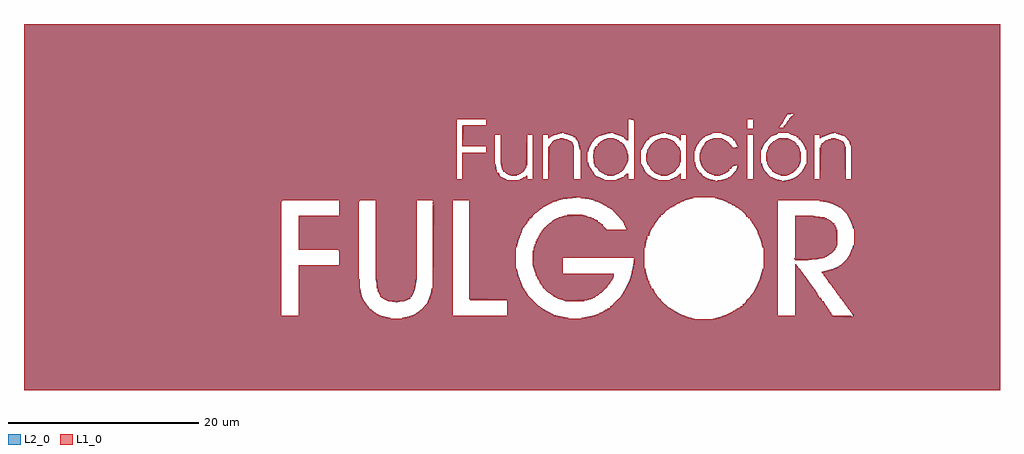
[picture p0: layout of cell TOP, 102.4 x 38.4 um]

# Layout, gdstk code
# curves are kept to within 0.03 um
import gdstk
lib = gdstk.Library(unit=1e-6, precision=1e-09)
def P(c, l, *ps):  # polygons
    for p in ps: c.add(gdstk.Polygon(p, *l))
L1_0 = (1, 0)
L2_0 = (2, 0)

top = lib.new_cell('TOP')
P(top, L1_0, [(80.9,13.6),(80.9,13.7),(80.8,13.7),(80.8,13.8),(80.9,13.8),(80.9,18.3),(82.8,18.3),(82.8,18.2),(83.5,18.2),(83.5,18.1),(84,18.1),(84,18),(84.2,18),(84.2,17.9),(84.4,17.9),(84.4,17.8),(84.6,17.8),(84.6,17.7),(84.7,17.7),(84.7,17.6),(84.8,17.6),(84.8,17.5),(85,17.5),(85,17.3),(85.1,17.3),(85.1,17.1),(85.2,17.1),(85.2,16.8),(85.3,16.8),(85.3,15.2),(85.2,15.2),(85.2,14.9),(85.1,14.9),(85.1,14.7),(85,14.7),(85,14.6),(84.9,14.6),(84.9,14.5),(84.8,14.5),(84.8,14.4),(84.7,14.4),(84.7,14.3),(84.5,14.3),(84.5,14.2),(84.4,14.2),(84.4,14.1),(84.2,14.1),(84.2,14),(84,14),(84,13.9),(83.8,13.9),(83.8,13.8),(83.3,13.8),(83.3,13.7),(82.3,13.7),(82.3,13.6)],
  [(61.2,22.5),(61.2,22.6),(61,22.6),(61,22.7),(60.8,22.7),(60.8,22.8),(60.6,22.8),(60.6,22.9),(60.4,22.9),(60.4,23),(60.3,23),(60.3,23.2),(60.2,23.2),(60.2,23.3),(60.1,23.3),(60.1,23.4),(60,23.4),(60,23.5),(59.9,23.5),(59.9,23.8),(59.8,23.8),(59.8,24.3),(59.7,24.3),(59.7,24.7),(59.8,24.7),(59.8,25.2),(59.9,25.2),(59.9,25.4),(60,25.4),(60,25.6),(60.2,25.6),(60.2,25.8),(60.3,25.8),(60.3,25.9),(60.4,25.9),(60.4,26),(60.5,26),(60.5,26.1),(60.7,26.1),(60.7,26.2),(60.9,26.2),(60.9,26.3),(61.2,26.3),(61.2,26.4),(61.9,26.4),(61.9,26.3),(62.2,26.3),(62.2,26.2),(62.4,26.2),(62.4,26.1),(62.5,26.1),(62.5,26),(62.7,26),(62.7,25.9),(62.8,25.9),(62.8,25.8),(62.9,25.8),(62.9,25.6),(63,25.6),(63,25.5),(63.1,25.5),(63.1,25.3),(63.2,25.3),(63.2,25.1),(63.3,25.1),(63.3,24.7),(63.4,24.7),(63.4,24.1),(63.3,24.1),(63.3,23.8),(63.2,23.8),(63.2,23.6),(63.1,23.6),(63.1,23.4),(63,23.4),(63,23.2),(62.9,23.2),(62.9,23.1),(62.8,23.1),(62.8,23),(62.7,23),(62.7,22.9),(62.5,22.9),(62.5,22.8),(62.4,22.8),(62.4,22.7),(62.1,22.7),(62.1,22.6),(61.9,22.6),(61.9,22.5)],
  [(66.8,22.5),(66.8,22.6),(66.6,22.6),(66.6,22.7),(66.3,22.7),(66.3,22.8),(66.1,22.8),(66.1,22.9),(66,22.9),(66,23),(65.9,23),(65.9,23.1),(65.8,23.1),(65.8,23.2),(65.7,23.2),(65.7,23.4),(65.6,23.4),(65.6,23.6),(65.5,23.6),(65.5,23.7),(65.4,23.7),(65.4,24),(65.3,24),(65.3,24.8),(65.4,24.8),(65.4,25.2),(65.5,25.2),(65.5,25.3),(65.6,25.3),(65.6,25.5),(65.7,25.5),(65.7,25.7),(65.8,25.7),(65.8,25.8),(65.9,25.8),(65.9,25.9),(66,25.9),(66,26),(66.1,26),(66.1,26.1),(66.3,26.1),(66.3,26.2),(66.5,26.2),(66.5,26.3),(66.8,26.3),(66.8,26.4),(67.5,26.4),(67.5,26.3),(67.8,26.3),(67.8,26.2),(68,26.2),(68,26.1),(68.2,26.1),(68.2,26),(68.3,26),(68.3,25.9),(68.4,25.9),(68.4,25.8),(68.5,25.8),(68.5,25.6),(68.6,25.6),(68.6,25.5),(68.7,25.5),(68.7,25.4),(68.8,25.4),(68.8,25.1),(68.9,25.1),(68.9,23.9),(68.8,23.9),(68.8,23.6),(68.7,23.6),(68.7,23.4),(68.6,23.4),(68.6,23.3),(68.5,23.3),(68.5,23.2),(68.4,23.2),(68.4,23),(68.3,23),(68.3,22.9),(68.1,22.9),(68.1,22.8),(67.9,22.8),(67.9,22.7),(67.7,22.7),(67.7,22.6),(67.5,22.6),(67.5,22.5)],
  [(79.4,22.5),(79.4,22.6),(79.2,22.6),(79.2,22.7),(78.9,22.7),(78.9,22.8),(78.7,22.8),(78.7,22.9),(78.5,22.9),(78.5,23.1),(78.4,23.1),(78.4,23.2),(78.3,23.2),(78.3,23.3),(78.2,23.3),(78.2,23.5),(78.1,23.5),(78.1,23.7),(78,23.7),(78,24),(77.9,24),(77.9,24.9),(78,24.9),(78,25.2),(78.1,25.2),(78.1,25.5),(78.2,25.5),(78.2,25.7),(78.3,25.7),(78.3,25.8),(78.4,25.8),(78.4,25.9),(78.5,25.9),(78.5,26),(78.6,26),(78.6,26.1),(78.8,26.1),(78.8,26.2),(79,26.2),(79,26.3),(79.2,26.3),(79.2,26.4),(80.2,26.4),(80.2,26.3),(80.4,26.3),(80.4,26.2),(80.6,26.2),(80.6,26.1),(80.8,26.1),(80.8,26),(80.9,26),(80.9,25.9),(81,25.9),(81,25.7),(81.2,25.7),(81.2,25.5),(81.3,25.5),(81.3,25.3),(81.4,25.3),(81.4,25),(81.5,25),(81.5,24),(81.4,24),(81.4,23.7),(81.3,23.7),(81.3,23.4),(81.2,23.4),(81.2,23.3),(81.1,23.3),(81.1,23.2),(81,23.2),(81,23.1),(80.9,23.1),(80.9,23),(80.8,23),(80.8,22.9),(80.7,22.9),(80.7,22.8),(80.5,22.8),(80.5,22.7),(80.3,22.7),(80.3,22.6),(80,22.6),(80,22.5)],
  [(0,0),(0,19.9),(27.1,19.9),(27.1,19.8),(27,19.8),(27,7.8),(28.8,7.8),(28.8,13.1),(33.1,13.1),(33.1,14.6),(33,14.6),(33,14.7),(28.8,14.7),(28.8,18.3),(33.1,18.3),(33.1,19.9),(41.2,19.9),(41.2,11.6),(41.1,11.6),(41.1,11),(41,11),(41,10.5),(40.9,10.5),(40.9,10.2),(40.8,10.2),(40.8,10),(40.7,10),(40.7,9.8),(40.5,9.8),(40.5,9.6),(40.3,9.6),(40.3,9.5),(40.1,9.5),(40.1,9.4),(39.9,9.4),(39.9,9.3),(39.2,9.3),(39.2,9.2),(39,9.2),(39,9.3),(38.2,9.3),(38.2,9.4),(38,9.4),(38,9.5),(37.8,9.5),(37.8,9.6),(37.7,9.6),(37.7,9.7),(37.5,9.7),(37.5,9.8),(37.4,9.8),(37.4,10),(37.3,10),(37.3,10.2),(37.2,10.2),(37.2,10.3),(37.1,10.3),(37.1,10.7),(37,10.7),(37,11.6),(36.9,11.6),(36.9,19.9),(35.2,19.9),(35.2,19.8),(35.1,19.8),(35.1,11.6),(35.2,11.6),(35.2,10.6),(35.3,10.6),(35.3,10.1),(35.4,10.1),(35.4,9.7),(35.5,9.7),(35.5,9.5),(35.6,9.5),(35.6,9.3),(35.7,9.3),(35.7,9.2),(35.8,9.2),(35.8,9),(35.9,9),(35.9,8.9),(36,8.9),(36,8.8),(36.1,8.8),(36.1,8.6),(36.2,8.6),(36.2,8.5),(36.3,8.5),(36.3,8.4),(36.5,8.4),(36.5,8.3),(36.6,8.3),(36.6,8.2),(36.7,8.2),(36.7,8.1),(36.9,8.1),(36.9,8),(37,8),(37,7.9),(37.2,7.9),(37.2,7.8),(37.5,7.8),(37.5,7.7),(37.9,7.7),(37.9,7.6),(38.4,7.6),(38.4,7.5),(39.7,7.5),(39.7,7.6),(40.2,7.6),(40.2,7.7),(40.6,7.7),(40.6,7.8),(40.9,7.8),(40.9,7.9),(41.1,7.9),(41.1,8),(41.2,8),(41.2,8.1),(41.4,8.1),(41.4,8.2),(41.5,8.2),(41.5,8.3),(41.6,8.3),(41.6,8.4),(41.8,8.4),(41.8,8.5),(41.9,8.5),(41.9,8.7),(42,8.7),(42,8.8),(42.1,8.8),(42.1,8.9),(42.2,8.9),(42.2,9),(42.3,9),(42.3,9.1),(42.4,9.1),(42.4,9.4),(42.5,9.4),(42.5,9.6),(42.6,9.6),(42.6,9.9),(42.7,9.9),(42.7,10.1),(42.8,10.1),(42.8,10.7),(42.9,10.7),(42.9,19.4),(43,19.4),(43,19.5),(42.9,19.5),(42.9,19.7),(43,19.7),(43,19.8),(42.9,19.8),(42.9,19.9),(45,19.9),(45,7.8),(50.7,7.8),(50.7,9.4),(46.8,9.4),(46.8,9.5),(46.7,9.5),(46.7,19.9),(0,19.9),(0,20.2),(57.5,20.2),(57.5,20.1),(56.5,20.1),(56.5,20),(56.1,20),(56.1,19.9),(55.9,19.9),(55.9,19.8),(55.5,19.8),(55.5,19.7),(55.3,19.7),(55.3,19.6),(55.1,19.6),(55.1,19.5),(54.9,19.5),(54.9,19.4),(54.7,19.4),(54.7,19.3),(54.5,19.3),(54.5,19.2),(54.4,19.2),(54.4,19.1),(54.3,19.1),(54.3,19),(54.1,19),(54.1,18.9),(54,18.9),(54,18.8),(53.9,18.8),(53.9,18.7),(53.8,18.7),(53.8,18.6),(53.6,18.6),(53.6,18.5),(53.5,18.5),(53.5,18.4),(53.4,18.4),(53.4,18.3),(53.3,18.3),(53.3,18.1),(53.2,18.1),(53.2,18),(53,18),(53,17.8),(52.9,17.8),(52.9,17.7),(52.8,17.7),(52.8,17.5),(52.7,17.5),(52.7,17.4),(52.6,17.4),(52.6,17.3),(52.5,17.3),(52.5,17.1),(52.4,17.1),(52.4,17),(52.3,17),(52.3,16.8),(52.2,16.8),(52.2,16.5),(52.1,16.5),(52.1,16.3),(52,16.3),(52,16),(51.9,16),(51.9,15.8),(51.8,15.8),(51.8,15.4),(51.7,15.4),(51.7,15),(51.6,15),(51.6,12.7),(51.7,12.7),(51.7,12.4),(51.8,12.4),(51.8,11.9),(51.9,11.9),(51.9,11.7),(52,11.7),(52,11.4),(52.1,11.4),(52.1,11.1),(52.2,11.1),(52.2,10.9),(52.3,10.9),(52.3,10.7),(52.4,10.7),(52.4,10.6),(52.5,10.6),(52.5,10.4),(52.6,10.4),(52.6,10.3),(52.7,10.3),(52.7,10.1),(52.8,10.1),(52.8,9.9),(52.9,9.9),(52.9,9.8),(53,9.8),(53,9.7),(53.1,9.7),(53.1,9.6),(53.2,9.6),(53.2,9.5),(53.3,9.5),(53.3,9.4),(53.4,9.4),(53.4,9.3),(53.5,9.3),(53.5,9.2),(53.6,9.2),(53.6,9.1),(53.7,9.1),(53.7,9),(53.8,9),(53.8,8.9),(53.9,8.9),(53.9,8.8),(54.1,8.8),(54.1,8.7),(54.2,8.7),(54.2,8.6),(54.3,8.6),(54.3,8.5),(54.4,8.5),(54.4,8.4),(54.6,8.4),(54.6,8.3),(54.8,8.3),(54.8,8.2),(55,8.2),(55,8.1),(55.2,8.1),(55.2,8),(55.4,8),(55.4,7.9),(55.6,7.9),(55.6,7.8),(56,7.8),(56,7.7),(56.5,7.7),(56.5,7.6),(57.1,7.6),(57.1,7.5),(58.5,7.5),(58.5,7.6),(59.1,7.6),(59.1,7.7),(59.6,7.7),(59.6,7.8),(60,7.8),(60,7.9),(60.3,7.9),(60.3,8),(60.4,8),(60.4,8.1),(60.7,8.1),(60.7,8.2),(60.8,8.2),(60.8,8.3),(61,8.3),(61,8.4),(61.2,8.4),(61.2,8.5),(61.3,8.5),(61.3,8.6),(61.5,8.6),(61.5,8.8),(61.7,8.8),(61.7,8.9),(61.8,8.9),(61.8,9),(61.9,9),(61.9,9.1),(62,9.1),(62,9.2),(62.1,9.2),(62.1,9.3),(62.2,9.3),(62.2,9.4),(62.3,9.4),(62.3,9.5),(62.4,9.5),(62.4,9.6),(62.5,9.6),(62.5,9.7),(62.6,9.7),(62.6,9.8),(62.7,9.8),(62.7,10),(62.8,10),(62.8,10.1),(62.9,10.1),(62.9,10.3),(63,10.3),(63,10.4),(63.1,10.4),(63.1,10.6),(63.2,10.6),(63.2,10.8),(63.3,10.8),(63.3,11),(63.4,11),(63.4,11.2),(63.5,11.2),(63.5,11.4),(63.6,11.4),(63.6,11.7),(63.7,11.7),(63.7,12.1),(63.8,12.1),(63.8,12.6),(63.9,12.6),(63.9,13.1),(64,13.1),(64,13.9),(56.5,13.9),(56.5,12.2),(61.9,12.2),(61.9,11.9),(61.8,11.9),(61.8,11.7),(61.7,11.7),(61.7,11.5),(61.6,11.5),(61.6,11.4),(61.5,11.4),(61.5,11.2),(61.4,11.2),(61.4,11.1),(61.3,11.1),(61.3,11),(61.2,11),(61.2,10.8),(61.1,10.8),(61.1,10.7),(61,10.7),(61,10.6),(60.9,10.6),(60.9,10.5),(60.8,10.5),(60.8,10.4),(60.7,10.4),(60.7,10.3),(60.6,10.3),(60.6,10.2),(60.4,10.2),(60.4,10.1),(60.3,10.1),(60.3,10),(60.2,10),(60.2,9.9),(60,9.9),(60,9.8),(59.9,9.8),(59.9,9.7),(59.6,9.7),(59.6,9.6),(59.4,9.6),(59.4,9.5),(59.1,9.5),(59.1,9.4),(58.8,9.4),(58.8,9.3),(56.8,9.3),(56.8,9.4),(56.6,9.4),(56.6,9.5),(56.2,9.5),(56.2,9.6),(56,9.6),(56,9.7),(55.8,9.7),(55.8,9.8),(55.6,9.8),(55.6,9.9),(55.5,9.9),(55.5,10),(55.3,10),(55.3,10.1),(55.2,10.1),(55.2,10.2),(55,10.2),(55,10.3),(54.9,10.3),(54.9,10.4),(54.8,10.4),(54.8,10.5),(54.7,10.5),(54.7,10.6),(54.6,10.6),(54.6,10.7),(54.5,10.7),(54.5,10.8),(54.4,10.8),(54.4,11),(54.3,11),(54.3,11.1),(54.2,11.1),(54.2,11.2),(54.1,11.2),(54.1,11.5),(54,11.5),(54,11.6),(53.9,11.6),(53.9,11.9),(53.8,11.9),(53.8,12),(53.7,12),(53.7,12.4),(53.6,12.4),(53.6,12.7),(53.5,12.7),(53.5,13.1),(53.4,13.1),(53.4,14.6),(53.5,14.6),(53.5,14.9),(53.6,14.9),(53.6,15.3),(53.7,15.3),(53.7,15.6),(53.8,15.6),(53.8,15.8),(53.9,15.8),(53.9,16),(54,16),(54,16.2),(54.1,16.2),(54.1,16.4),(54.2,16.4),(54.2,16.5),(54.3,16.5),(54.3,16.7),(54.4,16.7),(54.4,16.8),(54.5,16.8),(54.5,16.9),(54.6,16.9),(54.6,17),(54.7,17),(54.7,17.1),(54.8,17.1),(54.8,17.2),(54.9,17.2),(54.9,17.3),(55,17.3),(55,17.4),(55.1,17.4),(55.1,17.5),(55.3,17.5),(55.3,17.6),(55.4,17.6),(55.4,17.7),(55.5,17.7),(55.5,17.8),(55.7,17.8),(55.7,17.9),(55.9,17.9),(55.9,18),(56.1,18),(56.1,18.1),(56.4,18.1),(56.4,18.2),(56.7,18.2),(56.7,18.3),(57,18.3),(57,18.4),(58.6,18.4),(58.6,18.3),(59,18.3),(59,18.2),(59.2,18.2),(59.2,18.1),(59.5,18.1),(59.5,18),(59.8,18),(59.8,17.9),(59.9,17.9),(59.9,17.8),(60.2,17.8),(60.2,17.6),(60.4,17.6),(60.4,17.5),(60.5,17.5),(60.5,17.4),(60.7,17.4),(60.7,17.2),(60.8,17.2),(60.8,17.1),(60.9,17.1),(60.9,17),(61,17),(61,16.9),(61.1,16.9),(61.1,16.8),(63.3,16.8),(63.3,16.9),(63.2,16.9),(63.2,17.1),(63.1,17.1),(63.1,17.3),(63,17.3),(63,17.5),(62.9,17.5),(62.9,17.7),(62.8,17.7),(62.8,17.8),(62.7,17.8),(62.7,17.9),(62.6,17.9),(62.6,18),(62.5,18),(62.5,18.2),(62.4,18.2),(62.4,18.3),(62.3,18.3),(62.3,18.4),(62.2,18.4),(62.2,18.5),(62.1,18.5),(62.1,18.6),(62,18.6),(62,18.7),(61.9,18.7),(61.9,18.8),(61.8,18.8),(61.8,18.9),(61.7,18.9),(61.7,19),(61.5,19),(61.5,19.1),(61.4,19.1),(61.4,19.2),(61.2,19.2),(61.2,19.3),(61.1,19.3),(61.1,19.4),(60.9,19.4),(60.9,19.5),(60.7,19.5),(60.7,19.6),(60.5,19.6),(60.5,19.7),(60.3,19.7),(60.3,19.8),(59.9,19.8),(59.9,19.9),(59.7,19.9),(59.7,20),(59.3,20),(59.3,20.1),(58.4,20.1),(58.4,20.2),(70.2,20.2),(70.2,20.1),(69.8,20.1),(69.8,20),(69.4,20),(69.4,19.9),(69.2,19.9),(69.2,19.8),(68.9,19.8),(68.9,19.7),(68.8,19.7),(68.8,19.6),(68.5,19.6),(68.5,19.5),(68.4,19.5),(68.4,19.4),(68.2,19.4),(68.2,19.3),(68,19.3),(68,19.2),(67.8,19.2),(67.8,19.1),(67.7,19.1),(67.7,19),(67.6,19),(67.6,18.9),(67.4,18.9),(67.4,18.8),(67.3,18.8),(67.3,18.7),(67.2,18.7),(67.2,18.6),(67.1,18.6),(67.1,18.5),(67,18.5),(67,18.4),(66.8,18.4),(66.8,18.2),(66.7,18.2),(66.7,18.1),(66.6,18.1),(66.6,18),(66.5,18),(66.5,17.8),(66.4,17.8),(66.4,17.7),(66.3,17.7),(66.3,17.6),(66.2,17.6),(66.2,17.4),(66.1,17.4),(66.1,17.3),(66,17.3),(66,17.1),(65.9,17.1),(65.9,17),(65.8,17),(65.8,16.8),(65.7,16.8),(65.7,16.6),(65.6,16.6),(65.6,16.2),(65.4,16.2),(65.4,15.8),(65.3,15.8),(65.3,15.6),(65.2,15.6),(65.2,14.9),(65.1,14.9),(65.1,12.8),(65.2,12.8),(65.2,12.2),(65.3,12.2),(65.3,11.9),(65.4,11.9),(65.4,11.5),(65.5,11.5),(65.5,11.4),(65.6,11.4),(65.6,11.1),(65.7,11.1),(65.7,10.9),(65.8,10.9),(65.8,10.6),(66,10.6),(66,10.4),(66.1,10.4),(66.1,10.2),(66.2,10.2),(66.2,10.1),(66.3,10.1),(66.3,10),(66.4,10),(66.4,9.8),(66.5,9.8),(66.5,9.7),(66.6,9.7),(66.6,9.6),(66.7,9.6),(66.7,9.5),(66.8,9.5),(66.8,9.3),(66.9,9.3),(66.9,9.2),(67,9.2),(67,9.1),(67.1,9.1),(67.1,9),(67.3,9),(67.3,8.9),(67.4,8.9),(67.4,8.8),(67.5,8.8),(67.5,8.7),(67.6,8.7),(67.6,8.6),(67.8,8.6),(67.8,8.5),(67.9,8.5),(67.9,8.4),(68.1,8.4),(68.1,8.3),(68.2,8.3),(68.2,8.2),(68.4,8.2),(68.4,8.1),(68.6,8.1),(68.6,8),(68.8,8),(68.8,7.9),(69,7.9),(69,7.8),(69.3,7.8),(69.3,7.7),(69.6,7.7),(69.6,7.6),(70,7.6),(70,7.5),(70.3,7.5),(70.3,7.4),(72.3,7.4),(72.3,7.5),(72.7,7.5),(72.7,7.6),(73.1,7.6),(73.1,7.7),(73.3,7.7),(73.3,7.8),(73.7,7.8),(73.7,7.9),(73.9,7.9),(73.9,8),(74.1,8),(74.1,8.1),(74.3,8.1),(74.3,8.2),(74.4,8.2),(74.4,8.3),(74.6,8.3),(74.6,8.4),(74.8,8.4),(74.8,8.5),(74.9,8.5),(74.9,8.6),(75.1,8.6),(75.1,8.7),(75.2,8.7),(75.2,8.8),(75.4,8.8),(75.4,9),(75.6,9),(75.6,9.1),(75.7,9.1),(75.7,9.2),(75.8,9.2),(75.8,9.4),(75.9,9.4),(75.9,9.5),(76,9.5),(76,9.6),(76.1,9.6),(76.1,9.7),(76.2,9.7),(76.2,9.8),(76.3,9.8),(76.3,10),(76.4,10),(76.4,10.1),(76.5,10.1),(76.5,10.2),(76.6,10.2),(76.6,10.4),(76.7,10.4),(76.7,10.6),(76.8,10.6),(76.8,10.7),(76.9,10.7),(76.9,10.9),(77,10.9),(77,11.2),(77.1,11.2),(77.1,11.4),(77.2,11.4),(77.2,11.6),(77.3,11.6),(77.3,12),(77.4,12),(77.4,12.4),(77.5,12.4),(77.5,12.7),(77.6,12.7),(77.6,14.9),(77.5,14.9),(77.5,15.2),(77.4,15.2),(77.4,15.7),(77.3,15.7),(77.3,16),(77.2,16),(77.2,16.2),(77.1,16.2),(77.1,16.4),(77,16.4),(77,16.8),(76.9,16.8),(76.9,16.9),(76.8,16.9),(76.8,17.1),(76.7,17.1),(76.7,17.2),(76.6,17.2),(76.6,17.4),(76.5,17.4),(76.5,17.5),(76.4,17.5),(76.4,17.7),(76.3,17.7),(76.3,17.8),(76.2,17.8),(76.2,18),(76,18),(76,18.2),(75.8,18.2),(75.8,18.4),(75.7,18.4),(75.7,18.5),(75.6,18.5),(75.6,18.6),(75.5,18.6),(75.5,18.7),(75.4,18.7),(75.4,18.8),(75.3,18.8),(75.3,18.9),(75.1,18.9),(75.1,19),(75,19),(75,19.1),(74.9,19.1),(74.9,19.2),(74.7,19.2),(74.7,19.3),(74.6,19.3),(74.6,19.4),(74.3,19.4),(74.3,19.5),(74.2,19.5),(74.2,19.6),(73.9,19.6),(73.9,19.7),(73.8,19.7),(73.8,19.8),(73.5,19.8),(73.5,19.9),(79.1,19.9),(79.1,7.8),(80.9,7.8),(80.9,13.2),(81,13.2),(81,13.1),(81.1,13.1),(81.1,13),(81.2,13),(81.2,12.8),(81.3,12.8),(81.3,12.7),(81.4,12.7),(81.4,12.6),(81.5,12.6),(81.5,12.4),(81.6,12.4),(81.6,12.3),(81.7,12.3),(81.7,12.1),(81.8,12.1),(81.8,12),(81.9,12),(81.9,11.9),(82,11.9),(82,11.7),(82.1,11.7),(82.1,11.6),(82.2,11.6),(82.2,11.5),(82.3,11.5),(82.3,11.3),(82.4,11.3),(82.4,11.2),(82.5,11.2),(82.5,11),(82.6,11),(82.6,10.9),(82.7,10.9),(82.7,10.8),(82.8,10.8),(82.8,10.6),(82.9,10.6),(82.9,10.5),(83,10.5),(83,10.3),(83.1,10.3),(83.1,10.2),(83.2,10.2),(83.2,10),(83.3,10),(83.3,9.9),(83.4,9.9),(83.4,9.7),(83.6,9.7),(83.6,9.5),(83.7,9.5),(83.7,9.3),(83.9,9.3),(83.9,9.1),(84,9.1),(84,8.9),(84.1,8.9),(84.1,8.8),(84.2,8.8),(84.2,8.7),(84.3,8.7),(84.3,8.5),(84.4,8.5),(84.4,8.4),(84.5,8.4),(84.5,8.2),(84.6,8.2),(84.6,8.1),(84.7,8.1),(84.7,7.9),(84.8,7.9),(84.8,7.8),(86.8,7.8),(86.8,7.7),(87,7.7),(87,8),(86.9,8),(86.9,8.1),(86.8,8.1),(86.8,8.2),(86.7,8.2),(86.7,8.4),(86.6,8.4),(86.6,8.5),(86.5,8.5),(86.5,8.6),(86.4,8.6),(86.4,8.8),(86.3,8.8),(86.3,8.9),(86.2,8.9),(86.2,9),(86.1,9),(86.1,9.2),(86,9.2),(86,9.3),(85.9,9.3),(85.9,9.5),(85.8,9.5),(85.8,9.6),(85.7,9.6),(85.7,9.7),(85.6,9.7),(85.6,9.9),(85.5,9.9),(85.5,10),(85.4,10),(85.4,10.1),(85.3,10.1),(85.3,10.2),(85.2,10.2),(85.2,10.4),(85.1,10.4),(85.1,10.5),(85,10.5),(85,10.7),(84.9,10.7),(84.9,10.8),(84.8,10.8),(84.8,11),(84.7,11),(84.7,11.1),(84.6,11.1),(84.6,11.2),(84.5,11.2),(84.5,11.3),(84.4,11.3),(84.4,11.5),(84.3,11.5),(84.3,11.6),(84.2,11.6),(84.2,11.7),(84.1,11.7),(84.1,11.9),(84,11.9),(84,12),(83.9,12),(83.9,12.2),(83.8,12.2),(83.8,12.3),(83.7,12.3),(83.7,12.4),(84.1,12.4),(84.1,12.5),(84.5,12.5),(84.5,12.6),(84.9,12.6),(84.9,12.7),(85.1,12.7),(85.1,12.8),(85.3,12.8),(85.3,12.9),(85.5,12.9),(85.5,13),(85.6,13),(85.6,13.1),(85.8,13.1),(85.8,13.2),(85.9,13.2),(85.9,13.3),(86,13.3),(86,13.4),(86.1,13.4),(86.1,13.5),(86.2,13.5),(86.2,13.6),(86.3,13.6),(86.3,13.7),(86.4,13.7),(86.4,13.9),(86.5,13.9),(86.5,14),(86.6,14),(86.6,14.1),(86.7,14.1),(86.7,14.4),(86.8,14.4),(86.8,14.7),(86.9,14.7),(86.9,14.8),(87,14.8),(87,15.2),(87.1,15.2),(87.1,16.9),(87,16.9),(87,17.3),(86.9,17.3),(86.9,17.5),(86.8,17.5),(86.8,17.8),(86.7,17.8),(86.7,18),(86.6,18),(86.6,18.2),(86.5,18.2),(86.5,18.3),(86.4,18.3),(86.4,18.5),(86.3,18.5),(86.3,18.6),(86.2,18.6),(86.2,18.7),(86.1,18.7),(86.1,18.8),(86,18.8),(86,18.9),(85.9,18.9),(85.9,19),(85.8,19),(85.8,19.1),(85.7,19.1),(85.7,19.2),(85.5,19.2),(85.5,19.3),(85.3,19.3),(85.3,19.4),(85.1,19.4),(85.1,19.5),(84.9,19.5),(84.9,19.6),(84.6,19.6),(84.6,19.7),(84.2,19.7),(84.2,19.8),(83.5,19.8),(83.5,19.9),(73.3,19.9),(73.3,20),(72.9,20),(72.9,20.1),(72.5,20.1),(72.5,20.2),(0,20.2),(0,28.4),(45.4,28.4),(45.4,22.1),(46,22.1),(46,24.9),(48.5,24.9),(48.5,25.6),(46,25.6),(46,26.8),(52.8,26.8),(52.8,23.6),(52.7,23.6),(52.7,23.3),(52.6,23.3),(52.6,23.2),(52.5,23.2),(52.5,23),(52.4,23),(52.4,22.9),(52.3,22.9),(52.3,22.8),(52.1,22.8),(52.1,22.7),(51.9,22.7),(51.9,22.6),(51.7,22.6),(51.7,22.5),(51.1,22.5),(51.1,22.6),(50.8,22.6),(50.8,22.7),(50.6,22.7),(50.6,22.8),(50.5,22.8),(50.5,22.9),(50.3,22.9),(50.3,23.1),(50.2,23.1),(50.2,23.3),(50.1,23.3),(50.1,23.8),(50,23.8),(50,26.8),(49.4,26.8),(49.4,23.7),(49.5,23.7),(49.5,23.1),(49.6,23.1),(49.6,22.8),(49.8,22.8),(49.8,22.5),(49.9,22.5),(49.9,22.4),(50,22.4),(50,22.3),(50.2,22.3),(50.2,22.2),(50.4,22.2),(50.4,22.1),(50.6,22.1),(50.6,22),(52,22),(52,22.1),(52.3,22.1),(52.3,22.2),(52.4,22.2),(52.4,22.3),(52.6,22.3),(52.6,22.4),(52.7,22.4),(52.7,22.5),(52.8,22.5),(52.8,22.1),(53.4,22.1),(53.4,26.8),(46,26.8),(46,27),(56.2,27),(56.2,26.9),(55.9,26.9),(55.9,26.8),(55.5,26.8),(55.5,26.7),(55.4,26.7),(55.4,26.6),(55.2,26.6),(55.2,26.5),(55.1,26.5),(55.1,26.4),(55,26.4),(55,26.8),(54.4,26.8),(54.4,22.1),(55,22.1),(55,25.5),(55.1,25.5),(55.1,25.6),(55.2,25.6),(55.2,25.8),(55.3,25.8),(55.3,25.9),(55.4,25.9),(55.4,26),(55.5,26),(55.5,26.1),(55.6,26.1),(55.6,26.2),(55.9,26.2),(55.9,26.3),(56.2,26.3),(56.2,26.4),(56.6,26.4),(56.6,26.3),(57,26.3),(57,26.2),(57.2,26.2),(57.2,26.1),(57.4,26.1),(57.4,26),(57.5,26),(57.5,25.8),(57.6,25.8),(57.6,25.6),(57.7,25.6),(57.7,22.1),(58.4,22.1),(58.4,25.2),(58.3,25.2),(58.3,25.7),(58.2,25.7),(58.2,26.1),(58.1,26.1),(58.1,26.2),(58,26.2),(58,26.3),(57.9,26.3),(57.9,26.5),(57.7,26.5),(57.7,26.6),(57.6,26.6),(57.6,26.7),(57.4,26.7),(57.4,26.8),(57.1,26.8),(57.1,26.9),(56.7,26.9),(56.7,27),(46,27),(46,27.7),(46.1,27.7),(46.1,27.8),(48.5,27.8),(48.5,28.4),(63.4,28.4),(63.4,26.2),(63.2,26.2),(63.2,26.3),(63.1,26.3),(63.1,26.4),(63,26.4),(63,26.5),(62.9,26.5),(62.9,26.6),(62.7,26.6),(62.7,26.7),(62.5,26.7),(62.5,26.8),(62.2,26.8),(62.2,26.9),(61.9,26.9),(61.9,27),(61.2,27),(61.2,26.9),(60.9,26.9),(60.9,26.8),(60.5,26.8),(60.5,26.7),(60.3,26.7),(60.3,26.6),(60.2,26.6),(60.2,26.5),(60,26.5),(60,26.4),(59.9,26.4),(59.9,26.3),(59.8,26.3),(59.8,26.2),(59.7,26.2),(59.7,26.1),(59.6,26.1),(59.6,26),(59.5,26),(59.5,25.8),(59.4,25.8),(59.4,25.6),(59.3,25.6),(59.3,25.4),(59.2,25.4),(59.2,25),(59.1,25),(59.1,23.9),(59.2,23.9),(59.2,23.5),(59.3,23.5),(59.3,23.3),(59.4,23.3),(59.4,23.2),(59.5,23.2),(59.5,23),(59.6,23),(59.6,22.9),(59.7,22.9),(59.7,22.8),(59.8,22.8),(59.8,22.6),(59.9,22.6),(59.9,22.5),(60,22.5),(60,22.4),(60.2,22.4),(60.2,22.3),(60.4,22.3),(60.4,22.2),(60.6,22.2),(60.6,22.1),(60.9,22.1),(60.9,22),(62.2,22),(62.2,22.1),(62.5,22.1),(62.5,22.2),(62.7,22.2),(62.7,22.3),(62.9,22.3),(62.9,22.4),(63,22.4),(63,22.5),(63.1,22.5),(63.1,22.6),(63.2,22.6),(63.2,22.7),(63.4,22.7),(63.4,22.1),(64,22.1),(64,27),(66.8,27),(66.8,26.9),(66.5,26.9),(66.5,26.8),(66.2,26.8),(66.2,26.7),(65.9,26.7),(65.9,26.6),(65.8,26.6),(65.8,26.5),(65.6,26.5),(65.6,26.3),(65.4,26.3),(65.4,26.2),(65.3,26.2),(65.3,26.1),(65.2,26.1),(65.2,25.9),(65.1,25.9),(65.1,25.8),(65,25.8),(65,25.6),(64.9,25.6),(64.9,25.4),(64.8,25.4),(64.8,25.2),(64.7,25.2),(64.7,23.7),(64.8,23.7),(64.8,23.5),(64.9,23.5),(64.9,23.3),(65,23.3),(65,23.1),(65.1,23.1),(65.1,22.9),(65.2,22.9),(65.2,22.8),(65.3,22.8),(65.3,22.7),(65.4,22.7),(65.4,22.6),(65.5,22.6),(65.5,22.5),(65.7,22.5),(65.7,22.4),(65.8,22.4),(65.8,22.3),(65.9,22.3),(65.9,22.2),(66.1,22.2),(66.1,22.1),(66.5,22.1),(66.5,22),(67.8,22),(67.8,22.1),(68.1,22.1),(68.1,22.2),(68.3,22.2),(68.3,22.3),(68.5,22.3),(68.5,22.4),(68.6,22.4),(68.6,22.5),(68.7,22.5),(68.7,22.6),(68.8,22.6),(68.8,22.7),(68.9,22.7),(68.9,22.1),(69.5,22.1),(69.5,26.8),(68.9,26.8),(68.9,26.2),(68.8,26.2),(68.8,26.4),(68.7,26.4),(68.7,26.5),(68.5,26.5),(68.5,26.6),(68.4,26.6),(68.4,26.7),(68.1,26.7),(68.1,26.8),(67.8,26.8),(67.8,26.9),(67.4,26.9),(67.4,27),(72.2,27),(72.2,26.9),(72,26.9),(72,26.8),(71.7,26.8),(71.7,26.7),(71.5,26.7),(71.5,26.6),(71.4,26.6),(71.4,26.5),(71.2,26.5),(71.2,26.4),(71.1,26.4),(71.1,26.3),(71,26.3),(71,26.2),(70.9,26.2),(70.9,26.1),(70.8,26.1),(70.8,25.9),(70.7,25.9),(70.7,25.8),(70.6,25.8),(70.6,25.6),(70.5,25.6),(70.5,25.4),(70.4,25.4),(70.4,25.1),(70.3,25.1),(70.3,23.9),(70.4,23.9),(70.4,23.5),(70.5,23.5),(70.5,23.3),(70.6,23.3),(70.6,23.1),(70.7,23.1),(70.7,23),(70.8,23),(70.8,22.8),(71,22.8),(71,22.7),(71.1,22.7),(71.1,22.5),(71.2,22.5),(71.2,22.4),(71.4,22.4),(71.4,22.3),(71.5,22.3),(71.5,22.2),(71.7,22.2),(71.7,22.1),(72,22.1),(72,22),(72.5,22),(72.5,21.9),(72.8,21.9),(72.8,22),(73.4,22),(73.4,22.1),(73.8,22.1),(73.8,22.2),(73.9,22.2),(73.9,22.3),(74.1,22.3),(74.1,22.4),(74.2,22.4),(74.2,22.5),(74.3,22.5),(74.3,22.6),(74.4,22.6),(74.4,22.7),(74.5,22.7),(74.5,22.8),(74.6,22.8),(74.6,22.9),(74.7,22.9),(74.7,23),(74.8,23),(74.8,23.2),(74.9,23.2),(74.9,23.6),(74.4,23.6),(74.4,23.5),(74.3,23.5),(74.3,23.4),(74.2,23.4),(74.2,23.2),(74,23.2),(74,23),(73.9,23),(73.9,22.9),(73.7,22.9),(73.7,22.8),(73.5,22.8),(73.5,22.7),(73.3,22.7),(73.3,22.6),(73,22.6),(73,22.5),(72.4,22.5),(72.4,22.6),(72.2,22.6),(72.2,22.7),(71.9,22.7),(71.9,22.8),(71.7,22.8),(71.7,22.9),(71.6,22.9),(71.6,23),(71.5,23),(71.5,23.1),(71.4,23.1),(71.4,23.2),(71.3,23.2),(71.3,23.3),(71.2,23.3),(71.2,23.5),(71.1,23.5),(71.1,23.8),(71,23.8),(71,24.1),(70.9,24.1),(70.9,24.8),(71,24.8),(71,25.2),(71.1,25.2),(71.1,25.4),(71.2,25.4),(71.2,25.6),(71.3,25.6),(71.3,25.7),(71.4,25.7),(71.4,25.9),(71.5,25.9),(71.5,26),(71.6,26),(71.6,26.1),(71.8,26.1),(71.8,26.2),(72,26.2),(72,26.3),(72.3,26.3),(72.3,26.4),(73.2,26.4),(73.2,26.3),(73.4,26.3),(73.4,26.2),(73.6,26.2),(73.6,26.1),(73.8,26.1),(73.8,26),(73.9,26),(73.9,25.9),(74,25.9),(74,25.8),(74.1,25.8),(74.1,25.7),(74.2,25.7),(74.2,25.5),(74.3,25.5),(74.3,25.4),(75,25.4),(75,25.5),(74.9,25.5),(74.9,25.7),(74.8,25.7),(74.8,25.9),(74.7,25.9),(74.7,26.1),(74.6,26.1),(74.6,26.2),(74.4,26.2),(74.4,26.4),(74.3,26.4),(74.3,26.5),(74.1,26.5),(74.1,26.6),(74,26.6),(74,26.7),(73.8,26.7),(73.8,26.8),(75.9,26.8),(75.9,22.1),(76.5,22.1),(76.5,26.8),(73.5,26.8),(73.5,26.9),(73.2,26.9),(73.2,27),(79.1,27),(79.1,26.9),(78.9,26.9),(78.9,26.8),(78.6,26.8),(78.6,26.7),(78.4,26.7),(78.4,26.6),(78.3,26.6),(78.3,26.5),(78.2,26.5),(78.2,26.4),(78.1,26.4),(78.1,26.3),(78,26.3),(78,26.2),(77.9,26.2),(77.9,26.1),(77.8,26.1),(77.8,26),(77.7,26),(77.7,25.9),(77.6,25.9),(77.6,25.7),(77.5,25.7),(77.5,25.5),(77.4,25.5),(77.4,25.2),(77.3,25.2),(77.3,23.8),(77.4,23.8),(77.4,23.4),(77.5,23.4),(77.5,23.2),(77.6,23.2),(77.6,23),(77.7,23),(77.7,22.9),(77.8,22.9),(77.8,22.8),(77.9,22.8),(77.9,22.7),(78,22.7),(78,22.6),(78.1,22.6),(78.1,22.5),(78.2,22.5),(78.2,22.4),(78.3,22.4),(78.3,22.3),(78.5,22.3),(78.5,22.2),(78.7,22.2),(78.7,22.1),(79,22.1),(79,22),(79.5,22),(79.5,21.9),(79.9,21.9),(79.9,22),(80.4,22),(80.4,22.1),(80.7,22.1),(80.7,22.2),(80.9,22.2),(80.9,22.3),(81,22.3),(81,22.4),(81.2,22.4),(81.2,22.5),(81.3,22.5),(81.3,22.6),(81.4,22.6),(81.4,22.7),(81.5,22.7),(81.5,22.8),(81.6,22.8),(81.6,22.9),(81.7,22.9),(81.7,23.1),(81.8,23.1),(81.8,23.2),(81.9,23.2),(81.9,23.5),(82,23.5),(82,23.7),(82.1,23.7),(82.1,25.2),(82,25.2),(82,25.5),(81.9,25.5),(81.9,25.7),(81.8,25.7),(81.8,25.9),(81.7,25.9),(81.7,26),(81.6,26),(81.6,26.2),(81.5,26.2),(81.5,26.3),(81.3,26.3),(81.3,26.5),(81.1,26.5),(81.1,26.6),(81,26.6),(81,26.7),(80.8,26.7),(80.8,26.8),(80.5,26.8),(80.5,26.9),(80.3,26.9),(80.3,27),(84.7,27),(84.7,26.9),(84.4,26.9),(84.4,26.8),(84.1,26.8),(84.1,26.7),(83.9,26.7),(83.9,26.6),(83.7,26.6),(83.7,26.5),(83.6,26.5),(83.6,26.4),(83.5,26.4),(83.5,26.8),(82.9,26.8),(82.9,22.1),(83.5,22.1),(83.5,25.4),(83.6,25.4),(83.6,25.7),(83.7,25.7),(83.7,25.9),(83.9,25.9),(83.9,26),(84,26),(84,26.1),(84.1,26.1),(84.1,26.2),(84.4,26.2),(84.4,26.3),(84.7,26.3),(84.7,26.4),(85.1,26.4),(85.1,26.3),(85.5,26.3),(85.5,26.2),(85.7,26.2),(85.7,26.1),(85.9,26.1),(85.9,26),(86,26),(86,25.8),(86.1,25.8),(86.1,25.5),(86.2,25.5),(86.2,22.1),(86.8,22.1),(86.8,25.7),(86.7,25.7),(86.7,26.1),(86.6,26.1),(86.6,26.2),(86.5,26.2),(86.5,26.3),(86.4,26.3),(86.4,26.4),(86.3,26.4),(86.3,26.5),(86.2,26.5),(86.2,26.6),(86.1,26.6),(86.1,26.7),(85.9,26.7),(85.9,26.8),(85.6,26.8),(85.6,26.9),(85.2,26.9),(85.2,27),(64,27),(64,28.3),(63.9,28.3),(63.9,28.4),(75.9,28.4),(75.9,27.4),(76.5,27.4),(76.5,28.4),(0,28.4),(0,29),(80.1,29),(80.1,28.9),(80,28.9),(80,28.7),(79.9,28.7),(79.9,28.6),(79.8,28.6),(79.8,28.4),(79.7,28.4),(79.7,28.2),(79.6,28.2),(79.6,28),(79.5,28),(79.5,27.9),(79.4,27.9),(79.4,27.7),(79.3,27.7),(79.3,27.6),(79.2,27.6),(79.2,27.5),(79.7,27.5),(79.7,27.7),(79.8,27.7),(79.8,27.8),(79.9,27.8),(79.9,27.9),(80,27.9),(80,28.1),(80.1,28.1),(80.1,28.2),(80.2,28.2),(80.2,28.3),(80.3,28.3),(80.3,28.5),(80.4,28.5),(80.4,28.6),(80.5,28.6),(80.5,28.7),(80.6,28.7),(80.6,28.8),(80.7,28.8),(80.7,28.9),(80.8,28.9),(80.8,29),(0,29),(0,38.4),(102.4,38.4),(102.4,0)])
P(top, L2_0, [(82.3,13.6),(80.8,13.7),(80.8,13.8),(80.9,13.8),(80.9,18.3),(82.8,18.3),(84.4,17.9),(84.8,17.6),(85.2,17.1),(85.3,15.2),(84.8,14.4),(83.8,13.8)],
  [(61.9,22.5),(61,22.6),(60.3,23),(60.2,23.2),(59.9,23.5),(59.7,24.7),(60,25.6),(60.2,25.6),(60.2,25.8),(60.7,26.2),(61.2,26.4),(61.9,26.4),(62.9,25.8),(63.3,25.1),(63.4,24.1),(63,23.2),(62.5,22.8)],
  [(67.5,22.5),(66.6,22.6),(65.9,23),(65.3,24),(65.4,25.2),(65.8,25.8),(66.3,26.2),(66.8,26.4),(67.5,26.4),(68,26.2),(68.6,25.6),(68.9,25.1),(68.8,23.6),(68.1,22.8)],
  [(80,22.5),(79.2,22.6),(78.7,22.8),(78,23.7),(77.9,24.9),(78.4,25.9),(79.2,26.4),(80.4,26.3),(81,25.9),(81,25.7),(81.2,25.7),(81.4,25.3),(81.5,24),(81.3,23.4),(80.3,22.6)],
  [(0,0),(0,19.9),(27.1,19.9),(27.1,19.8),(27,19.8),(27,7.8),(28.8,7.8),(28.8,13.1),(33.1,13.1),(33.1,14.6),(33,14.6),(33,14.7),(28.8,14.7),(28.8,18.3),(33.1,18.3),(33.1,19.9),(41.2,19.9),(41.2,11.6),(41,10.5),(40.7,9.8),(40.5,9.8),(40.5,9.6),(39.9,9.3),(39,9.2),(38.2,9.3),(37.7,9.6),(37.3,10),(37.2,10.2),(36.9,11.6),(36.9,19.9),(35.2,19.9),(35.2,19.8),(35.1,19.8),(35.1,11.6),(35.2,11.6),(35.2,10.6),(35.3,10.6),(35.5,9.7),(35.7,9.3),(36.2,8.6),(37,8),(37.5,7.8),(38.4,7.6),(38.4,7.5),(39.7,7.5),(39.7,7.6),(40.9,7.9),(41.8,8.5),(42.3,9.1),(42.7,10.1),(42.8,10.7),(42.9,10.7),(43,19.5),(42.9,19.5),(43,19.8),(42.9,19.8),(42.9,19.9),(45,19.9),(45,7.8),(50.7,7.8),(50.7,9.4),(46.7,9.5),(46.7,19.9),(0,19.9),(0,20.2),(58.4,20.2),(56.5,20),(56.1,19.9),(55.5,19.7),(54.5,19.2),(53.6,18.5),(53.4,18.3),(53.3,18.1),(53,18),(52.3,16.8),(51.9,15.8),(51.7,15),(51.6,15),(51.6,12.7),(51.7,12.7),(51.9,11.9),(52.2,11.1),(52.9,9.9),(53.9,8.9),(54.4,8.5),(55.6,7.9),(57.1,7.6),(57.1,7.5),(58.5,7.5),(58.5,7.6),(59.6,7.8),(60.3,8),(61.5,8.6),(61.5,8.8),(61.7,8.9),(62.6,9.8),(63,10.4),(63.5,11.4),(63.7,12.1),(63.9,13.1),(64,13.9),(56.5,13.9),(56.5,12.2),(61.9,12.2),(61.8,11.7),(61,10.6),(60.4,10.1),(59.6,9.6),(59.1,9.4),(56.8,9.3),(56.6,9.4),(56.2,9.5),(54.9,10.3),(54.3,11),(53.8,11.9),(53.4,13.1),(53.5,14.9),(54.2,16.5),(54.9,17.3),(55.7,17.9),(56.7,18.3),(58.6,18.4),(60.2,17.8),(60.2,17.6),(60.5,17.5),(61.1,16.8),(63.3,16.8),(62.8,17.7),(62.4,18.2),(61.7,18.9),(61.1,19.3),(60.3,19.7),(59.3,20),(58.4,20.1),(58.4,20.2),(70.2,20.2),(70.2,20.1),(69.4,19.9),(68.5,19.5),(67.8,19.1),(67.4,18.8),(67.1,18.5),(66.8,18.4),(66.6,18),(65.9,17),(65.7,16.6),(65.6,16.2),(65.4,16.2),(65.2,14.9),(65.1,14.9),(65.1,12.8),(65.2,12.8),(65.3,12.2),(65.8,10.6),(66,10.6),(66.2,10.2),(67.1,9.1),(68.2,8.3),(69,7.9),(70.3,7.5),(70.3,7.4),(72.3,7.4),(72.3,7.5),(73.7,7.9),(75.4,8.8),(75.4,9),(75.6,9.1),(76.5,10.2),(76.9,10.9),(77.2,11.6),(77.5,12.7),(77.6,12.7),(77.6,14.9),(77.5,14.9),(77.3,15.7),(76.9,16.8),(76.3,17.7),(76.2,18),(76,18),(76,18.2),(75.8,18.2),(75.7,18.4),(75.3,18.8),(74.6,19.3),(73.3,19.9),(79.1,19.9),(79.1,7.8),(80.9,7.8),(80.9,13.2),(81.6,12.4),(83.1,10.3),(83.4,9.7),(83.6,9.7),(83.7,9.3),(83.9,9.3),(84.1,8.9),(84.8,7.8),(87,7.7),(86.9,8),(83.7,12.4),(84.9,12.7),(85.8,13.2),(86.3,13.7),(86.6,14.1),(86.9,14.8),(87,15.2),(87.1,15.2),(87.1,16.9),(87,16.9),(86.9,17.3),(86.7,17.8),(86.3,18.5),(85.7,19.1),(84.9,19.5),(84.2,19.7),(83.5,19.8),(83.5,19.9),(73.3,19.9),(72.5,20.1),(72.5,20.2),(0,20.2),(0,28.4),(45.4,28.4),(45.4,22.1),(46,22.1),(46,24.9),(48.5,24.9),(48.5,25.6),(46,25.6),(46.055,26.8),(52.8,26.8),(52.7,23.3),(52.5,23),(51.9,22.6),(51.1,22.5),(50.8,22.6),(50.2,23.1),(50,23.8),(50,26.8),(49.4,26.8),(49.4,23.7),(49.5,23.7),(49.6,22.8),(49.8,22.8),(49.9,22.5),(50,22.4),(50.6,22.1),(50.6,22),(52,22),(52,22.1),(52.3,22.2),(52.8,22.5),(52.8,22.1),(53.4,22.1),(53.4,26.8),(46.055,26.8),(46.064,27),(56.7,27),(55.5,26.7),(55,26.4),(55,26.8),(54.4,26.8),(54.4,22.1),(55,22.1),(55.1,25.6),(55.5,26.1),(55.9,26.3),(56.6,26.4),(57.5,26),(57.7,25.6),(57.7,22.1),(58.4,22.1),(58.4,25.2),(58.3,25.2),(58.1,26.1),(57.9,26.5),(57.4,26.7),(56.7,26.9),(56.7,27),(46.064,27),(46.1,27.8),(48.5,27.8),(48.5,28.4),(63.4,28.4),(63.4,26.2),(63.1,26.3),(62.9,26.5),(62.5,26.7),(61.9,26.9),(61.9,27),(61.2,26.9),(60.5,26.7),(60,26.4),(59.6,26),(59.3,25.4),(59.2,25),(59.1,25),(59.1,23.9),(59.2,23.9),(59.3,23.5),(59.4,23.3),(60,22.5),(60.6,22.2),(60.9,22.1),(60.9,22),(62.2,22),(62.2,22.1),(62.5,22.2),(62.9,22.4),(63.1,22.6),(63.4,22.7),(63.4,22.1),(64,22.1),(64,27),(67.4,27),(66.8,26.9),(65.6,26.5),(65.6,26.3),(65.3,26.1),(64.8,25.2),(64.7,25.2),(64.7,23.7),(64.8,23.7),(65.2,22.9),(65.5,22.6),(65.9,22.3),(66.1,22.2),(66.5,22.1),(66.5,22),(67.8,22),(67.8,22.1),(68.5,22.4),(68.9,22.7),(68.9,22.1),(69.5,22.1),(69.5,26.8),(68.9,26.8),(68.9,26.2),(68.8,26.2),(68.7,26.4),(68.4,26.6),(67.4,26.9),(67.4,27),(72.2,27),(72.2,26.9),(71.7,26.7),(71.2,26.4),(70.9,26.1),(70.7,25.8),(70.4,25.1),(70.3,25.1),(70.3,23.9),(70.4,23.9),(70.5,23.5),(70.8,22.8),(71.1,22.7),(71.2,22.5),(71.5,22.3),(72,22.1),(72.5,22),(72.5,21.9),(73.8,22.2),(74.1,22.4),(74.7,23),(74.8,23.2),(74.9,23.6),(74.4,23.5),(74.2,23.2),(74,23.2),(73.9,22.9),(73,22.5),(72.2,22.6),(71.5,23),(71.1,23.5),(70.9,24.1),(70.9,24.8),(71.3,25.7),(71.8,26.2),(72.3,26.4),(73.2,26.4),(73.9,26),(74.3,25.4),(75,25.5),(74.9,25.5),(74.6,26.1),(74.3,26.4),(74,26.6),(73.5,26.8),(75.9,26.8),(75.9,22.1),(76.5,22.1),(76.5,26.8),(73.5,26.8),(73.2,26.9),(73.2,27),(79.1,27),(79.1,26.9),(78.4,26.6),(77.7,25.9),(77.4,25.2),(77.3,25.2),(77.3,23.8),(77.4,23.8),(77.5,23.4),(77.7,23),(78.3,22.4),(78.7,22.2),(79.5,22),(79.5,21.9),(80.7,22.2),(81.2,22.5),(81.6,22.9),(81.8,23.2),(82,23.7),(82.1,23.7),(82.1,25.2),(82,25.2),(81.9,25.5),(81.5,26.2),(81.3,26.3),(81.3,26.5),(80.3,26.9),(80.3,27),(85.2,27),(84.7,26.9),(84.1,26.7),(83.5,26.4),(83.5,26.8),(82.9,26.8),(82.9,22.1),(83.5,22.1),(83.6,25.7),(84.1,26.2),(85.1,26.4),(85.9,26.1),(86.1,25.8),(86.2,22.1),(86.8,22.1),(86.8,25.7),(86.7,25.7),(86.6,26.1),(86.1,26.6),(85.9,26.7),(85.2,26.9),(85.2,27),(64,27),(64,28.3),(63.4,28.4),(75.9,28.4),(75.9,27.4),(76.5,27.4),(76.5,28.4),(0,28.4),(0,29),(80.8,29),(80.1,28.9),(79.2,27.5),(79.7,27.5),(79.9,27.9),(80.8,29),(0,29),(0,38.4),(102.4,38.4),(102.4,0)])

lib.write_gds('TOP.gds')
